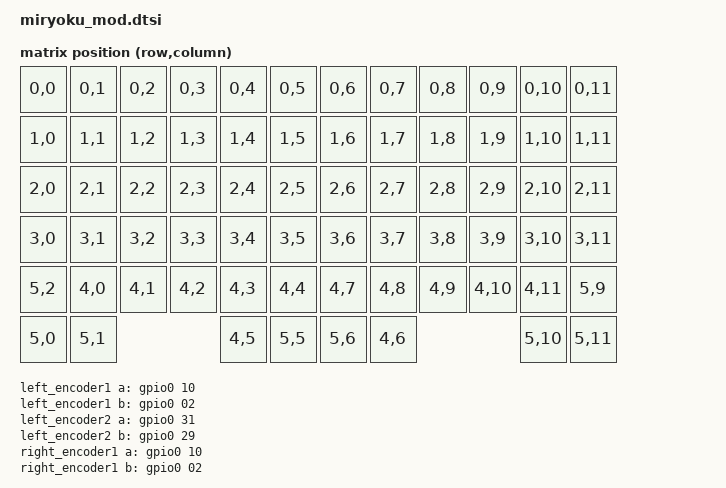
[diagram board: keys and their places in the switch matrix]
#include <dt-bindings/zmk/matrix_transform.h>

/ {
    chosen {
        zmk,kscan = &kscan0;
        zmk,matrix-transform = &default_transform;
    };

    

    left_encoder1: encoder_left1 {
        compatible = "alps,ec11";
        b-gpios = <&gpio0 02 (GPIO_ACTIVE_HIGH | GPIO_PULL_DOWN)>;
        a-gpios = <&gpio0 10 (GPIO_ACTIVE_HIGH | GPIO_PULL_DOWN)>;
        steps = <30>;
        status = "disabled";
    };
    left_encoder2: encoder_left2 {
        compatible = "alps,ec11";
        b-gpios = <&gpio0 29 (GPIO_ACTIVE_HIGH | GPIO_PULL_DOWN)>;
        a-gpios = <&gpio0 31 (GPIO_ACTIVE_HIGH | GPIO_PULL_DOWN)>;
        steps = <30>;
        status = "disabled";
    };

    right_encoder1: encoder_right1 {
        compatible = "alps,ec11";
        b-gpios = <&gpio0 02 (GPIO_ACTIVE_HIGH | GPIO_PULL_DOWN)>;
        a-gpios = <&gpio0 10 (GPIO_ACTIVE_HIGH | GPIO_PULL_DOWN)>;
        steps = <30>;
        status = "disabled";
    };
    right_encoder2: encoder_right2 {
        compatible = "alps,ec11";
        b-gpios = <&gpio0 29 (GPIO_ACTIVE_HIGH | GPIO_PULL_DOWN)>;
        a-gpios = <&gpio0 31 (GPIO_ACTIVE_HIGH | GPIO_PULL_DOWN)>;
        steps = <30>;
        status = "disabled";
    };

    sensors: sensors {
        compatible = "zmk,keymap-sensors";
        sensors = <&left_encoder1 &left_encoder2 &right_encoder1 &right_encoder2>;
        triggers-per-rotation = <15>;
    };


    default_transform: keymap_transform_0 {
        compatible = "zmk,matrix-transform";
        columns = <12>;
        rows = <6>;
        map = <
RC(0,0) RC(0,1) RC(0,2) RC(0,3) RC(0,4) RC(0,5)     RC(0,6) RC(0,7) RC(0,8) RC(0,9) RC(0,10) RC(0,11)
RC(1,0) RC(1,1) RC(1,2) RC(1,3) RC(1,4) RC(1,5)     RC(1,6) RC(1,7) RC(1,8) RC(1,9) RC(1,10) RC(1,11)
RC(2,0) RC(2,1) RC(2,2) RC(2,3) RC(2,4) RC(2,5)     RC(2,6) RC(2,7) RC(2,8) RC(2,9) RC(2,10) RC(2,11)
RC(3,0) RC(3,1) RC(3,2) RC(3,3) RC(3,4) RC(3,5)     RC(3,6) RC(3,7) RC(3,8) RC(3,9) RC(3,10) RC(3,11)
RC(5,2) RC(4,0) RC(4,1) RC(4,2) RC(4,3) RC(4,4)     RC(4,7) RC(4,8) RC(4,9) RC(4,10)RC(4,11) RC(5,9)
RC(5,0) RC(5,1)                 RC(4,5) RC(5,5)     RC(5,6) RC(4,6)                 RC(5,10) RC(5,11)
>;
    };

    kscan0: kscan {
        compatible = "zmk,kscan-gpio-matrix";

        diode-direction = "row2col";
        row-gpios
        = <&gpio0 22 GPIO_ACTIVE_HIGH>
        , <&gpio0 24 GPIO_ACTIVE_HIGH>
        , <&gpio0 11 GPIO_ACTIVE_HIGH>
        , <&gpio1 4  GPIO_ACTIVE_HIGH> 
        , <&gpio1 6  GPIO_ACTIVE_HIGH>
        , <&gpio1 1  GPIO_ACTIVE_HIGH>
        ;

    };
};

// &spi3 {
//     status = "okay";

//     e_paper_display: epd2in13@0 {
//         compatible = "good-display,gdey0213b74";
//         reg = <0>; /* SPI chip select */
//         spi-max-frequency = <4000000>;
//         reset-gpios = <&gpio0 22 GPIO_ACTIVE_LOW>;
//         dc-gpios = <&gpio0 23 GPIO_ACTIVE_LOW>;
//         busy-gpios = <&gpio0 24 GPIO_ACTIVE_HIGH>;
//         width = <250>;
//         height = <122>;
//         /* Additional properties specific to your display */
//     };
// };


